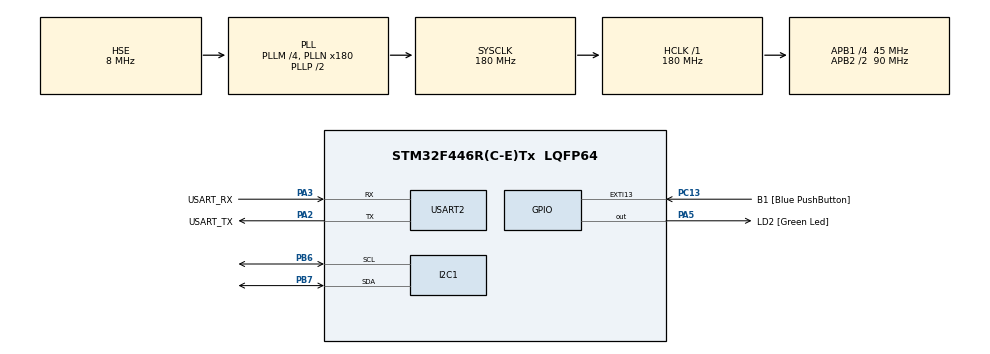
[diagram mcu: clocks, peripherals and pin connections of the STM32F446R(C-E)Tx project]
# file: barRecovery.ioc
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FREERTOS.Tasks01=defaultTask,24,128,StartDefaultTask,Default,NULL,Dynamic,NULL,NULL;AcquireData,24,128,StartTask02,Default,NULL,Dynamic,NULL,NULL;Recovery,40,128,StartTask03,Default,NULL,Dynamic,NULL,NULL
FREERTOS.configUSE_NEWLIB_REENTRANT=1
I2C1.I2C_Mode=I2C_Fast
Mcu.Family=STM32F4
Mcu.Name=STM32F446R(C-E)Tx
Mcu.Package=LQFP64
NVIC.PriorityGroup=NVIC_PRIORITYGROUP_4
NVIC.TIM6_DAC_IRQn=true\:15\:0\:false\:false\:true\:false\:false\:true\:true
NVIC.TimeBase=TIM6_DAC_IRQn
NVIC.TimeBaseIP=TIM6
PA13.GPIO_Label=TMS
PA13.Mode=Serial_Wire
PA13.Signal=SYS_JTMS-SWDIO
PA14.GPIO_Label=TCK
PA14.Mode=Serial_Wire
PA14.Signal=SYS_JTCK-SWCLK
PA2.GPIO_Label=USART_TX
PA2.Mode=Asynchronous
PA2.Signal=USART2_TX
PA3.GPIO_Label=USART_RX
PA3.Mode=Asynchronous
PA3.Signal=USART2_RX
PA5.GPIO_Label=LD2 [Green Led]
PA5.Signal=GPIO_Output
PB3.GPIO_Label=SWO
PB3.Signal=SYS_JTDO-SWO
PB6.Mode=I2C
PB6.Signal=I2C1_SCL
PB7.Mode=I2C
PB7.Signal=I2C1_SDA
PC13.GPIO_Label=B1 [Blue PushButton]
PC13.GPIO_ModeDefaultEXTI=GPIO_MODE_IT_FALLING
PC13.Signal=GPXTI13
PC14-OSC32_IN.Mode=LSE-External-Oscillator
PC14-OSC32_IN.Signal=RCC_OSC32_IN
PC15-OSC32_OUT.Mode=LSE-External-Oscillator
PC15-OSC32_OUT.Signal=RCC_OSC32_OUT
PH0-OSC_IN.Mode=HSE-External-Oscillator
PH0-OSC_IN.Signal=RCC_OSC_IN
PH1-OSC_OUT.Mode=HSE-External-Oscillator
PH1-OSC_OUT.Signal=RCC_OSC_OUT
ProjectManager.HeapSize=0x200
ProjectManager.StackSize=0x400
ProjectManager.TargetToolchain=STM32CubeIDE
RCC.48MHZClocksFreq_Value=84000000
RCC.AHBFreq_Value=180000000
RCC.APB1CLKDivider=RCC_HCLK_DIV4
RCC.APB1Freq_Value=45000000
RCC.APB1TimFreq_Value=90000000
RCC.APB2CLKDivider=RCC_HCLK_DIV2
RCC.APB2Freq_Value=90000000
RCC.APB2TimFreq_Value=180000000
RCC.CortexFreq_Value=180000000
RCC.FLatency-AdvancedSettings=FLASH_LATENCY_5
RCC.HCLKFreq_Value=180000000
RCC.HSE_VALUE=8000000
RCC.HSI_VALUE=16000000
RCC.PLLM=4
RCC.PLLN=180
RCC.PLLSourceVirtual=RCC_PLLSOURCE_HSE
RCC.SYSCLKFreq_VALUE=180000000
RCC.SYSCLKSource=RCC_SYSCLKSOURCE_PLLCLK
RCC.USBFreq_Value=180000000
RCC.VCOOutputFreq_Value=360000000
TIM2.Period=1000000
TIM2.Prescaler=180
USART2.VirtualMode=VM_ASYNC
VP_FREERTOS_VS_CMSIS_V2.Mode=CMSIS_V2
VP_SYS_VS_tim6.Mode=TIM6
VP_TIM2_VS_ClockSourceINT.Mode=Internal
board=NUCLEO-F446RE

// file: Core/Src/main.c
/* USER CODE BEGIN Header */
/**
  ******************************************************************************
  * @file           : main.c
  * @brief          : Main program body
  ******************************************************************************
  * @attention
  *
  * Copyright (c) 2024 STMicroelectronics.
  * All rights reserved.
  *
  * This software is licensed under terms that can be found in the LICENSE file
  * in the root directory of this software component.
  * If no LICENSE file comes with this software, it is provided AS-IS.
  *
  ******************************************************************************
  */
/* USER CODE END Header */
#include "main.h"
#include "cmsis_os.h"
#include "i2c.h"
#include "tim.h"
#include "usart.h"
#include "gpio.h"

void SystemClock_Config(void);
void MX_FREERTOS_Init(void);

int main(void)
{

  /* MCU Configuration--------------------------------------------------------*/

  /* Reset of all peripherals, Initializes the Flash interface and the Systick. */
  HAL_Init();

  /* Configure the system clock */
  SystemClock_Config();

  /* Initialize all configured peripherals */
  MX_GPIO_Init();
  MX_USART2_UART_Init();
  MX_I2C1_Init();
  MX_TIM2_Init();

  /* Init scheduler */
  osKernelInitialize();

  /* Call init function for freertos objects (in cmsis_os2.c) */
  MX_FREERTOS_Init();

  /* Start scheduler */
  osKernelStart();

  /* We should never get here as control is now taken by the scheduler */

  /* Infinite loop */
  while (1)
  {

  }
}

void SystemClock_Config(void)
{
  RCC_OscInitTypeDef RCC_OscInitStruct = {0};
  RCC_ClkInitTypeDef RCC_ClkInitStruct = {0};

  /** Configure the main internal regulator output voltage
  */
  __HAL_RCC_PWR_CLK_ENABLE();
  __HAL_PWR_VOLTAGESCALING_CONFIG(PWR_REGULATOR_VOLTAGE_SCALE1);

  /** Initializes the RCC Oscillators according to the specified parameters
  * in the RCC_OscInitTypeDef structure.
  */
  RCC_OscInitStruct.OscillatorType = RCC_OSCILLATORTYPE_HSE;
  RCC_OscInitStruct.HSEState = RCC_HSE_ON;
  RCC_OscInitStruct.PLL.PLLState = RCC_PLL_ON;
  RCC_OscInitStruct.PLL.PLLSource = RCC_PLLSOURCE_HSE;
  RCC_OscInitStruct.PLL.PLLM = 4;
  RCC_OscInitStruct.PLL.PLLN = 180;
  RCC_OscInitStruct.PLL.PLLP = RCC_PLLP_DIV2;
  RCC_OscInitStruct.PLL.PLLQ = 2;
  RCC_OscInitStruct.PLL.PLLR = 2;
  if (HAL_RCC_OscConfig(&RCC_OscInitStruct) != HAL_OK)
  {
    Error_Handler();
  }

  /** Activate the Over-Drive mode
  */
  if (HAL_PWREx_EnableOverDrive() != HAL_OK)
  {
    Error_Handler();
  }

  /** Initializes the CPU, AHB and APB buses clocks
  */
  RCC_ClkInitStruct.ClockType = RCC_CLOCKTYPE_HCLK|RCC_CLOCKTYPE_SYSCLK
                              |RCC_CLOCKTYPE_PCLK1|RCC_CLOCKTYPE_PCLK2;
  RCC_ClkInitStruct.SYSCLKSource = RCC_SYSCLKSOURCE_PLLCLK;
  RCC_ClkInitStruct.AHBCLKDivider = RCC_SYSCLK_DIV1;
  RCC_ClkInitStruct.APB1CLKDivider = RCC_HCLK_DIV4;
  RCC_ClkInitStruct.APB2CLKDivider = RCC_HCLK_DIV2;

  if (HAL_RCC_ClockConfig(&RCC_ClkInitStruct, FLASH_LATENCY_5) != HAL_OK)
  {
    Error_Handler();
  }
}

void HAL_TIM_PeriodElapsedCallback(TIM_HandleTypeDef *htim)
{
  if (htim->Instance == TIM6) {
    HAL_IncTick();
  }
}

void Error_Handler(void)
{
  __disable_irq();
  while (1)
  {
  }
}

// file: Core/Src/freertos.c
/* USER CODE BEGIN Header */
/**
  ******************************************************************************
  * File Name          : freertos.c
  * Description        : Code for freertos applications
  ******************************************************************************
  * @attention
  *
  * Copyright (c) 2024 STMicroelectronics.
  * All rights reserved.
  *
  * This software is licensed under terms that can be found in the LICENSE file
  * in the root directory of this software component.
  * If no LICENSE file comes with this software, it is provided AS-IS.
  *
  ******************************************************************************
  */
/* USER CODE END Header */

#include "FreeRTOS.h"
#include "task.h"
#include "main.h"
#include "cmsis_os.h"

/* USER CODE BEGIN Includes */
#include <stdio.h>
#include"bmp180_internals.h"
#include "bmp180.h"
#include "i2c.h"
#include "usart.h"
#include "stdbool.h"
#include "math.h"
#include "string.h"
/* USER CODE END Includes */

/* USER CODE BEGIN Variables */
  float temperature;  //sensor data
  int32_t pressure;
  float altitude;

  float initialAltitude; //for altitude calculation
  float maxAltitude;

  char txdata[150]; //data holder

  int32_t measurementTime; //for velocity calculation
  int32_t deltaTime;
  float deltaAltitude;
  float velocity;

  uint8_t estApo;  //for time estimation
  uint8_t estLand;

  bool check= false;
//oss setting of bmp180
  bmp180_t bmp180 = {.oversampling_setting = standart};
/* USER CODE END Variables */
/* Definitions for defaultTask */
osThreadId_t defaultTaskHandle;
const osThreadAttr_t defaultTask_attributes = {
  .name = "defaultTask",
  .stack_size = 128 * 4,
  .priority = (osPriority_t) osPriorityNormal,
};
/* Definitions for AcquireData */
osThreadId_t AcquireDataHandle;
const osThreadAttr_t AcquireData_attributes = {
  .name = "AcquireData",
  .stack_size = 128 * 4,
  .priority = (osPriority_t) osPriorityNormal,
};
/* Definitions for Recovery */
osThreadId_t RecoveryHandle;
const osThreadAttr_t Recovery_attributes = {
  .name = "Recovery",
  .stack_size = 128 * 4,
  .priority = (osPriority_t) osPriorityHigh,
};

void StartDefaultTask(void *argument);
void StartTask02(void *argument);
void StartTask03(void *argument);

void MX_FREERTOS_Init(void); /* (MISRA C 2004 rule 8.1) */

void MX_FREERTOS_Init(void) {
  /* USER CODE BEGIN Init */

	// Wait till initialization is complete
  while (bmp180_init(&hi2c1,&bmp180));
  /* USER CODE END Init */

  /* Create the thread(s) */
  /* creation of defaultTask */
  defaultTaskHandle = osThreadNew(StartDefaultTask, NULL, &defaultTask_attributes);

  /* creation of AcquireData */
  AcquireDataHandle = osThreadNew(StartTask02, NULL, &AcquireData_attributes);

  /* creation of Recovery */
  RecoveryHandle = osThreadNew(StartTask03, NULL, &Recovery_attributes);

}

void StartDefaultTask(void *argument)
{
  /* USER CODE BEGIN StartDefaultTask */
	//set the mean of first few data to the max
	for(int i=0;i<100;i++)
		{   //combine the values of altitude
		bmp180_get_altitude(&bmp180);
			initialAltitude+= bmp180.altitude;
		}
		    // divide by the number of terms to get the mean
	        initialAltitude/=100;
	        maxAltitude= initialAltitude;

  /* Infinite loop */
  for(;;)
  {
	  // Get all the values
	 	  bmp180_get_all(&bmp180);
	 	  measurementTime = HAL_GetTick();
	 	  altitude = bmp180.altitude;
	 	  temperature = bmp180.temperature;
	 	  pressure = bmp180.pressure;

	 	  //adjust the maximum altitude
	 	  if (maxAltitude < altitude)
	 	  {
	 	  	  maxAltitude = altitude;
	 	  }

    osDelay(100);
  }
  /* USER CODE END StartDefaultTask */
}

void StartTask02(void *argument)
{
  /* USER CODE BEGIN StartTask02 */
	//set the mean of first few data to the max
	int j=0;
	uint32_t k=1;
  /* Infinite loop */
  for(;;)
  {

	  //transmit the acquired data with UART
	  sprintf(txdata, "%d-) Pressure: %ld Pa\nAltitude: %f m\nTemperature: %f C\n",k, pressure, altitude,temperature);
	  HAL_UART_Transmit(&huart2, txdata, strlen(txdata), 100);

          //calculate velocity with the altitude
	      bmp180_get_altitude(&bmp180);
	  	  deltaTime=HAL_GetTick()-measurementTime;
	  	  deltaAltitude=bmp180.altitude - altitude;
	  	  velocity = deltaAltitude/deltaTime;
	  	  //estimate the time for apogee (works only when out of fuel and friction is neglected)
	  	  estApo=velocity/9.8;
	  	  //estimate the time for landing after apogee (with similar assumptions)
	  	  estLand=sqrt(2*maxAltitude/9.8)-j;
	  if(!check)
	  {
	   sprintf(txdata, "Current velocity: %f m/s\nEstimated time for apogee:%d s\n",velocity,estApo);
	   HAL_UART_Transmit(&huart2, txdata, strlen(txdata), 100);
	  }
	  else if(estLand>=0)
	  {
	   sprintf(txdata, "Current velocity: %f m/s\nEstimated time for landing:%d s\n ",velocity,estLand);
	   HAL_UART_Transmit(&huart2, txdata, strlen(txdata), 100);
		j++;
	  }
	  	  k++;
    osDelay(10);
  }
  /* USER CODE END StartTask02 */
}

void StartTask03(void *argument)
{
  /* USER CODE BEGIN StartTask03 */

  /* Infinite loop */
  for(;;)
  {
	  //checks if the device is falling down
	  if ((maxAltitude - altitude) > 1)
	      { //represents drag parachute trigger
	        HAL_GPIO_WritePin(LD2_GPIO_Port, LD2_Pin, 1);
	        check=true;
	      }
	  //checks if the minimum altitude limit has been reached
	  if(check && altitude<=30)
	      {
	        HAL_GPIO_WritePin(LD2_GPIO_Port, LD2_Pin, 0);
	      }

    osDelay(1000);
  }
  /* USER CODE END StartTask03 */
}
